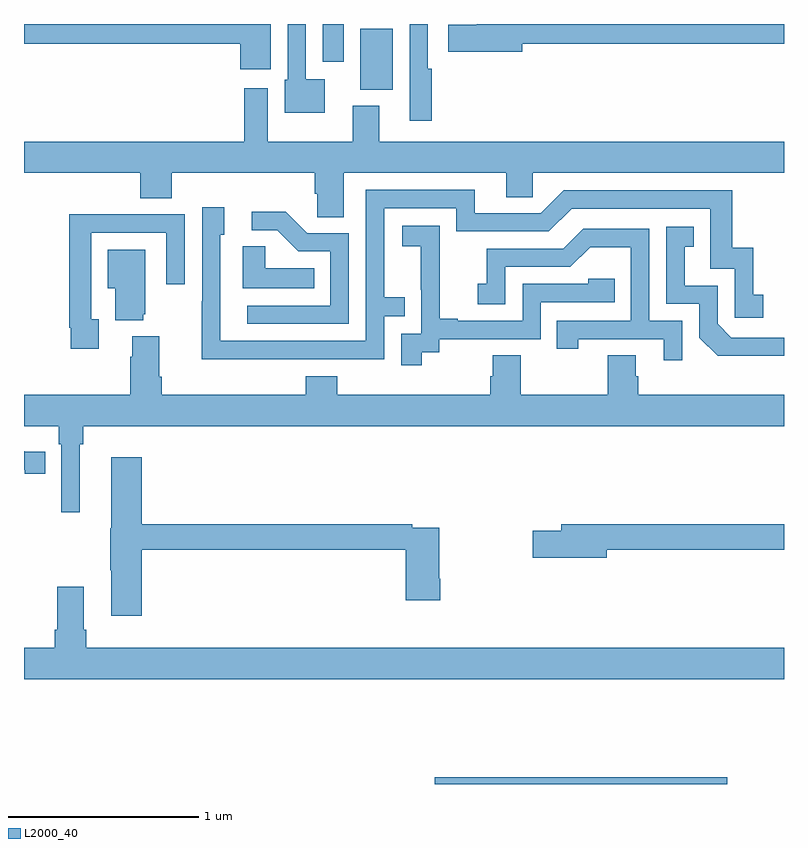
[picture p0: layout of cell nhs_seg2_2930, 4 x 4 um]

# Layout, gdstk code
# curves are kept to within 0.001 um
import gdstk
lib = gdstk.Library(unit=1e-6, precision=1e-09)
def R(c, l, rs):  # rectangles x0, y0, x1, y1
    for r in rs: c.add(gdstk.rectangle(r[:2], r[2:], *l))
def P(c, l, *ps):  # polygons
    for p in ps: c.add(gdstk.Polygon(p, *l))
L2000_40 = (2000, 40)

nhs_seg2_2930 = lib.new_cell('nhs_seg2_2930')
R(nhs_seg2_2930, L2000_40, [(267.161,597.8,268.702,597.836), (266.771,601.454,266.941,601.774), (266.573,601.602,266.683,601.8)])
P(nhs_seg2_2930, L2000_40, [(266.584,601.51),(266.484,601.51),(266.484,601.8),(266.388,601.8),(266.388,601.506),(266.372,601.506),(266.372,601.334),(266.584,601.334)],
  [(267.146,601.565),(267.126,601.565),(267.126,601.8),(267.03,601.8),(267.03,601.29),(267.146,601.29)],
  [(266.299,601.8),(265,601.8),(265,601.696),(266.138,601.696),(266.138,601.563),(266.299,601.563)],
  [(267.622,601.696),(269,601.696),(269,601.8),(267.383,601.8),(267.383,601.796),(267.234,601.796),(267.234,601.654),(267.622,601.654)],
  [(266.729,601.369),(266.729,601.18),(266.284,601.18),(266.284,601.462),(266.159,601.462),(266.159,601.18),(265,601.18),(265,601.016),(265.613,601.016),(265.613,600.883),(265.778,600.883),(265.778,601.016),(266.531,601.016),(266.531,600.907),(266.544,600.907),(266.544,600.784),(266.683,600.784),(266.683,601.016),(267.539,601.016),(267.539,600.889),(267.678,600.889),(267.678,601.016),(269,601.016),(269,601.18),(266.869,601.18),(266.869,601.369)],
  [(266.399,600.036),(266.895,600.036),(266.895,600.261),(267.005,600.261),(267.005,600.362),(266.895,600.362),(266.895,600.831),(267.276,600.831),(267.276,600.708),(267.762,600.708),(267.882,600.828),(268.611,600.828),(268.611,600.513),(268.74,600.513),(268.74,600.255),(268.891,600.255),(268.891,600.375),(268.838,600.375),(268.838,600.622),(268.727,600.622),(268.727,600.924),(267.84,600.924),(267.72,600.804),(267.373,600.804),(267.373,600.927),(266.799,600.927),(266.799,600.132),(266.034,600.132),(266.034,600.69),(266.053,600.69),(266.053,600.835),(265.938,600.835),(265.938,600.341),(265.936,600.341),(265.936,600.035)],
  [(266.709,600.699),(266.49,600.699),(266.377,600.812),(266.199,600.812),(266.199,600.714),(266.333,600.714),(266.444,600.603),(266.613,600.603),(266.613,600.318),(266.175,600.318),(266.175,600.222),(266.709,600.222)],
  [(265.393,600.246),(265.353,600.246),(265.353,600.702),(265.749,600.702),(265.749,600.429),(265.845,600.429),(265.845,600.798),(265.529,600.798),(265.529,600.8),(265.237,600.8),(265.237,600.202),(265.245,600.202),(265.245,600.09),(265.393,600.09)],
  [(267.094,600.073),(267.186,600.073),(267.186,600.141),(267.72,600.141),(267.72,600.336),(268.109,600.336),(268.109,600.459),(267.969,600.459),(267.969,600.432),(267.624,600.432),(267.624,600.237),(267.283,600.237),(267.283,600.25),(267.188,600.25),(267.188,600.533),(267.189,600.533),(267.189,600.739),(266.991,600.739),(266.991,600.629),(267.089,600.629),(267.089,600.401),(267.09,600.401),(267.09,600.171),(266.985,600.171),(266.985,600.003),(267.094,600.003)],
  [(269,600.15),(268.722,600.15),(268.65,600.222),(268.65,600.423),(268.477,600.423),(268.477,600.627),(268.526,600.627),(268.526,600.733),(268.38,600.733),(268.38,600.327),(268.554,600.327),(268.554,600.15),(268.652,600.053),(269,600.053)],
  [(268.464,600.237),(268.29,600.237),(268.29,600.723),(267.944,600.723),(267.839,600.618),(267.436,600.618),(267.436,600.433),(267.387,600.433),(267.387,600.324),(267.534,600.324),(267.534,600.522),(267.876,600.522),(267.98,600.626),(268.194,600.626),(268.194,600.237),(267.805,600.237),(267.805,600.09),(267.916,600.09),(267.916,600.141),(268.367,600.141),(268.367,600.03),(268.464,600.03)],
  [(266.528,600.514),(266.271,600.514),(266.271,600.629),(266.15,600.629),(266.15,600.41),(266.528,600.41)],
  [(265.628,600.273),(265.639,600.273),(265.639,600.613),(265.442,600.613),(265.442,600.41),(265.481,600.41),(265.481,600.242),(265.628,600.242)],
  [(265.294,599.588),(265.313,599.588),(265.313,599.684),(269,599.684),(269,599.848),(268.232,599.848),(268.232,599.946),(268.219,599.946),(268.219,600.056),(268.072,600.056),(268.072,599.848),(267.615,599.848),(267.615,600.056),(267.467,600.056),(267.467,599.946),(267.455,599.946),(267.455,599.848),(266.648,599.848),(266.648,599.947),(266.483,599.947),(266.483,599.848),(265.724,599.848),(265.724,599.944),(265.711,599.944),(265.711,600.157),(265.571,600.157),(265.571,600.05),(265.559,600.05),(265.559,599.848),(265,599.848),(265,599.684),(265.184,599.684),(265.184,599.588),(265.197,599.588),(265.197,599.229),(265.294,599.229)],
  [(265.112,599.55),(265.004,599.55),(265.004,599.551),(265,599.551),(265,599.454),(265.004,599.454),(265.004,599.434),(265.112,599.434)],
  [(265.619,599.032),(267.008,599.032),(267.008,598.767),(267.191,598.767),(267.191,598.879),(267.186,598.879),(267.186,599.148),(267.044,599.148),(267.044,599.168),(265.619,599.168),(265.619,599.521),(265.46,599.521),(265.46,599.145),(265.453,599.145),(265.453,598.924),(265.46,598.924),(265.46,598.686),(265.619,598.686)],
  [(268.066,599.032),(269,599.032),(269,599.168),(267.827,599.168),(267.827,599.132),(267.678,599.132),(267.678,598.99),(268.066,598.99)],
  [(269,598.516),(265.328,598.516),(265.328,598.612),(265.315,598.612),(265.315,598.837),(265.175,598.837),(265.175,598.612),(265.163,598.612),(265.163,598.516),(265,598.516),(265,598.352),(269,598.352)])

lib.write_gds('nhs_seg2_2930.gds')
